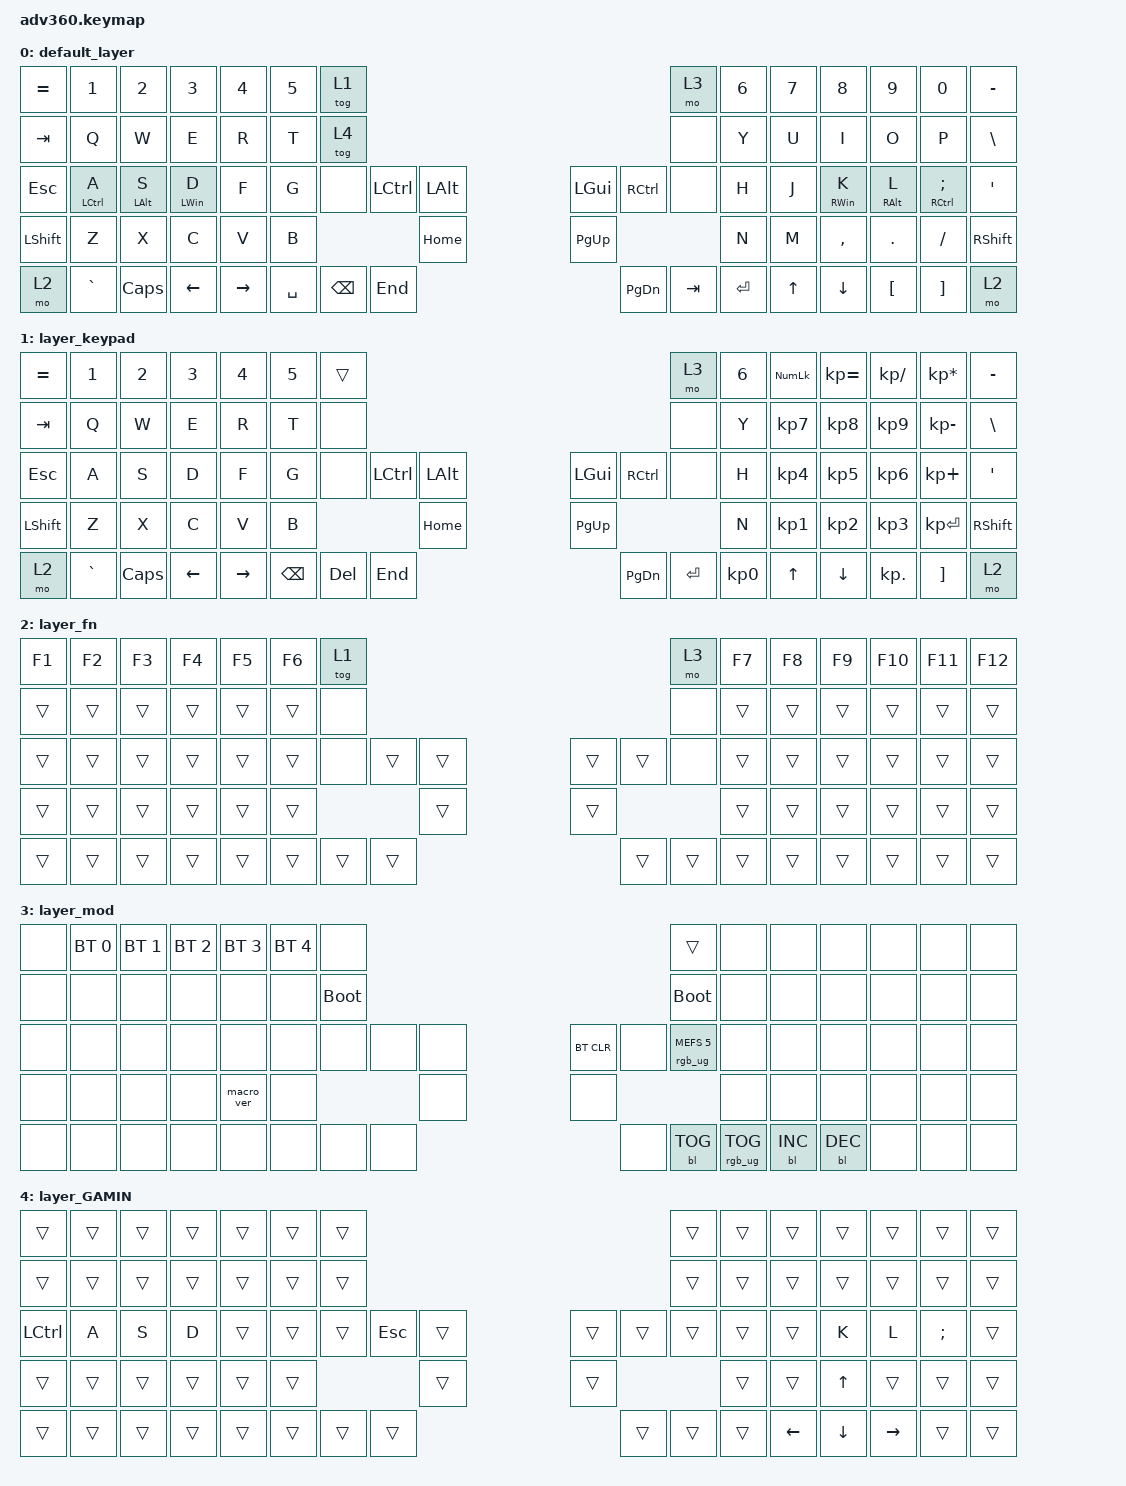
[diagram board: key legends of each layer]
#include <behaviors.dtsi>
#include <dt-bindings/zmk/keys.h>
#include <dt-bindings/zmk/bt.h>
#include <dt-bindings/zmk/rgb.h>
#include <dt-bindings/zmk/backlight.h>

&mt {
      tapping-term-ms = <250>;
      flavor = "tap-preferred";
};

/ {
  behaviors {
    #include "macros.dtsi"
    #include "version.dtsi"

    hm: homerow_mods {
        compatible = "zmk,behavior-hold-tap";
        label = "HOMEROW_MODS";
        #binding-cells = <2>;
        tapping-term-ms = <200>;
        quick_tap_ms = <175>;
        flavor = "tap-preferred";
        bindings = <&kp>, <&kp>;
    };
  };

    keymap {
        compatible = "zmk,keymap";


        default_layer {
            bindings = <
 &kp EQUAL              &kp N1          &kp N2          &kp N3     &kp N4  &kp N5               &tog 1                                                                      &mo 3  &kp N6  &kp N7           &kp N8           &kp N9                       &kp N0  &kp MINUS
   &kp TAB               &kp Q           &kp W           &kp E      &kp R   &kp T               &tog 4                                                                      &none   &kp Y   &kp U            &kp I            &kp O                        &kp P   &kp BSLH
   &kp ESC  &mt LEFT_CONTROL A  &mt LEFT_ALT S  &mt LEFT_WIN D      &kp F   &kp G                &none      &kp LCTRL  &kp LALT                   &kp LGUI  &kp RCTRL       &none   &kp H   &kp J  &mt RIGHT_WIN K  &mt RIGHT_ALT L  &mt RIGHT_CONTROL SEMICOLON    &kp SQT
 &kp LSHFT               &kp Z           &kp X           &kp C      &kp V   &kp B                                      &kp HOME                  &kp PG_UP                          &kp N   &kp M        &kp COMMA          &kp DOT                     &kp FSLH  &kp RSHFT
     &mo 2           &kp GRAVE        &kp CAPS        &kp LEFT  &kp RIGHT                    &kp SPACE  &kp BACKSPACE   &kp END                  &kp PG_DN    &kp TAB  &kp RETURN          &kp UP         &kp DOWN         &kp LBKT                     &kp RBKT      &mo 2
            >;
        };

        layer_keypad {
            bindings = <
 &kp EQUAL     &kp N1    &kp N2    &kp N3     &kp N4  &kp N5              &trans                                                                 &mo 3  &kp N6  &kp KP_NUM  &kp KP_EQUAL  &kp KP_DIVIDE  &kp KP_MULTIPLY  &kp MINUS
   &kp TAB      &kp Q     &kp W     &kp E      &kp R   &kp T               &none                                                                 &none   &kp Y   &kp KP_N7     &kp KP_N8      &kp KP_N9     &kp KP_MINUS   &kp BSLH
   &kp ESC      &kp A     &kp S     &kp D      &kp F   &kp G               &none  &kp LCTRL  &kp LALT                   &kp LGUI  &kp RCTRL      &none   &kp H   &kp KP_N4     &kp KP_N5      &kp KP_N6      &kp KP_PLUS    &kp SQT
 &kp LSHFT      &kp Z     &kp X     &kp C      &kp V   &kp B                                 &kp HOME                  &kp PG_UP                         &kp N   &kp KP_N1     &kp KP_N2      &kp KP_N3     &kp KP_ENTER  &kp RSHFT
     &mo 2  &kp GRAVE  &kp CAPS  &kp LEFT  &kp RIGHT                    &kp BSPC    &kp DEL   &kp END                  &kp PG_DN  &kp ENTER  &kp KP_N0              &kp UP      &kp DOWN     &kp KP_DOT         &kp RBKT      &mo 2
            >;
        };

        layer_fn {
            bindings = <
 &kp F1  &kp F2  &kp F3  &kp F4  &kp F5  &kp F6            &tog 1                                                   &mo 3  &kp F7  &kp F8  &kp F9  &kp F10  &kp F11  &kp F12
 &trans  &trans  &trans  &trans  &trans  &trans             &none                                                   &none  &trans  &trans  &trans   &trans   &trans   &trans
 &trans  &trans  &trans  &trans  &trans  &trans             &none  &trans  &trans                  &trans  &trans   &none  &trans  &trans  &trans   &trans   &trans   &trans
 &trans  &trans  &trans  &trans  &trans  &trans                            &trans                  &trans                  &trans  &trans  &trans   &trans   &trans   &trans
 &trans  &trans  &trans  &trans  &trans                    &trans  &trans  &trans                  &trans  &trans  &trans          &trans  &trans   &trans   &trans   &trans
            >;
        };

        layer_mod {
            bindings = <
  &none  &bt BT_SEL 0  &bt BT_SEL 1  &bt BT_SEL 2  &bt BT_SEL 3  &bt BT_SEL 4                  &none                                                                          &trans   &none       &none       &none   &none   &none   &none
  &none         &none         &none         &none         &none         &none            &bootloader                                                                     &bootloader   &none       &none       &none   &none   &none   &none
  &none         &none         &none         &none         &none         &none                  &none   &none   &none                  &bt BT_CLR       &none  &rgb_ug RGB_MEFS_CMD 5   &none       &none       &none   &none   &none   &none
  &none         &none         &none         &none    &macro_ver         &none                                  &none                       &none                                       &none       &none       &none   &none   &none   &none
  &none         &none         &none         &none         &none                                &none   &none   &none                       &none  &bl BL_TOG         &rgb_ug RGB_TOG          &bl BL_INC  &bl BL_DEC   &none   &none   &none
            >;
        };

        layer_GAMIN {
            bindings = <
           &trans  &trans  &trans  &trans  &trans  &trans            &trans                                                   &trans  &trans          &trans          &trans           &trans         &trans  &trans
           &trans  &trans  &trans  &trans  &trans  &trans            &trans                                                   &trans  &trans          &trans          &trans           &trans         &trans  &trans
 &kp LEFT_CONTROL   &kp A   &kp S   &kp D  &trans  &trans            &trans  &kp ESC  &trans                  &trans  &trans  &trans  &trans          &trans           &kp K            &kp L  &kp SEMICOLON  &trans
           &trans  &trans  &trans  &trans  &trans  &trans                             &trans                  &trans                  &trans          &trans    &kp UP_ARROW           &trans         &trans  &trans
           &trans  &trans  &trans  &trans  &trans                    &trans   &trans  &trans                  &trans  &trans  &trans          &kp LEFT_ARROW  &kp DOWN_ARROW  &kp RIGHT_ARROW         &trans  &trans
            >;
        };

    };
};
